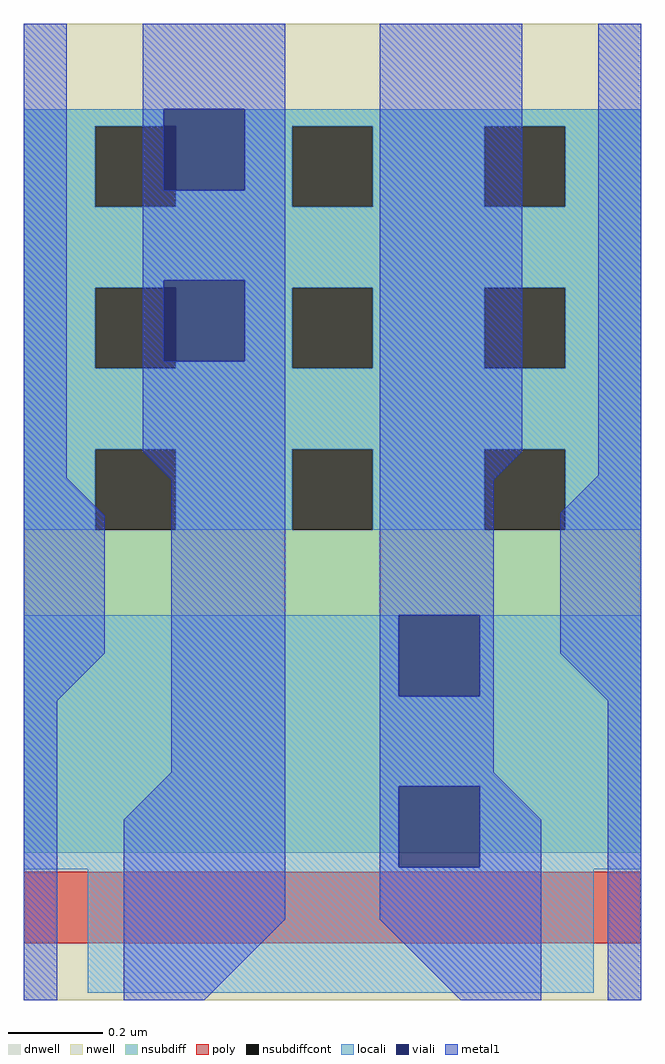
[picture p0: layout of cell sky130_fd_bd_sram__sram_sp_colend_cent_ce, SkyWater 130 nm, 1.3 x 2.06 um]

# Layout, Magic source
magic
tech sky130A
magscale 1 2
<< dnwell >>
rect 0 0 260 411
<< nwell >>
rect 0 0 260 411
<< nsubdiff >>
rect 0 368 260 375
rect 0 334 30 368
rect 64 334 113 368
rect 147 334 194 368
rect 228 334 260 368
rect 0 300 260 334
rect 0 266 30 300
rect 64 266 113 300
rect 147 266 194 300
rect 228 266 260 300
rect 0 232 260 266
rect 0 198 30 232
rect 64 198 113 232
rect 147 198 194 232
rect 228 198 260 232
rect 0 62 260 198
<< nsubdiffcont >>
rect 30 334 64 368
rect 113 334 147 368
rect 194 334 228 368
rect 30 266 64 300
rect 113 266 147 300
rect 194 266 228 300
rect 30 198 64 232
rect 113 198 147 232
rect 194 198 228 232
<< poly >>
rect 0 24 260 54
<< locali >>
rect 0 368 59 375
rect 93 368 260 375
rect 0 334 30 368
rect 93 341 113 368
rect 64 334 113 341
rect 147 334 194 368
rect 228 334 260 368
rect 0 303 260 334
rect 0 300 59 303
rect 93 300 260 303
rect 0 266 30 300
rect 93 269 113 300
rect 64 266 113 269
rect 147 266 194 300
rect 228 266 260 300
rect 0 232 260 266
rect 0 198 30 232
rect 64 198 113 232
rect 147 198 194 232
rect 228 198 260 232
rect 0 128 158 162
rect 192 128 260 162
rect 0 90 260 128
rect 0 56 158 90
rect 192 56 260 90
rect 0 55 260 56
rect 27 3 240 55
<< viali >>
rect 59 368 93 375
rect 59 341 64 368
rect 64 341 93 368
rect 59 300 93 303
rect 59 269 64 300
rect 64 269 93 300
rect 158 128 192 162
rect 158 56 192 90
<< metal1 >>
rect 0 204 18 411
rect 50 375 110 411
rect 50 341 59 375
rect 93 341 110 375
rect 50 303 110 341
rect 50 269 59 303
rect 93 269 110 303
rect 50 231 110 269
tri 18 204 34 220 sw
tri 50 219 62 231 ne
rect 0 146 34 204
rect 0 0 14 146
tri 14 126 34 146 nw
tri 42 76 62 96 se
rect 62 76 110 231
rect 42 34 110 76
rect 42 0 76 34
tri 76 0 110 34 nw
rect 150 231 210 411
rect 150 162 198 231
tri 198 219 210 231 nw
rect 150 128 158 162
rect 192 128 198 162
rect 150 90 198 128
tri 226 205 242 221 se
rect 242 205 260 411
rect 226 146 260 205
tri 226 126 246 146 ne
rect 150 56 158 90
rect 192 76 198 90
tri 198 76 218 96 sw
rect 192 56 218 76
rect 150 34 218 56
tri 150 0 184 34 ne
rect 184 0 218 34
rect 246 0 260 146
<< end >>
